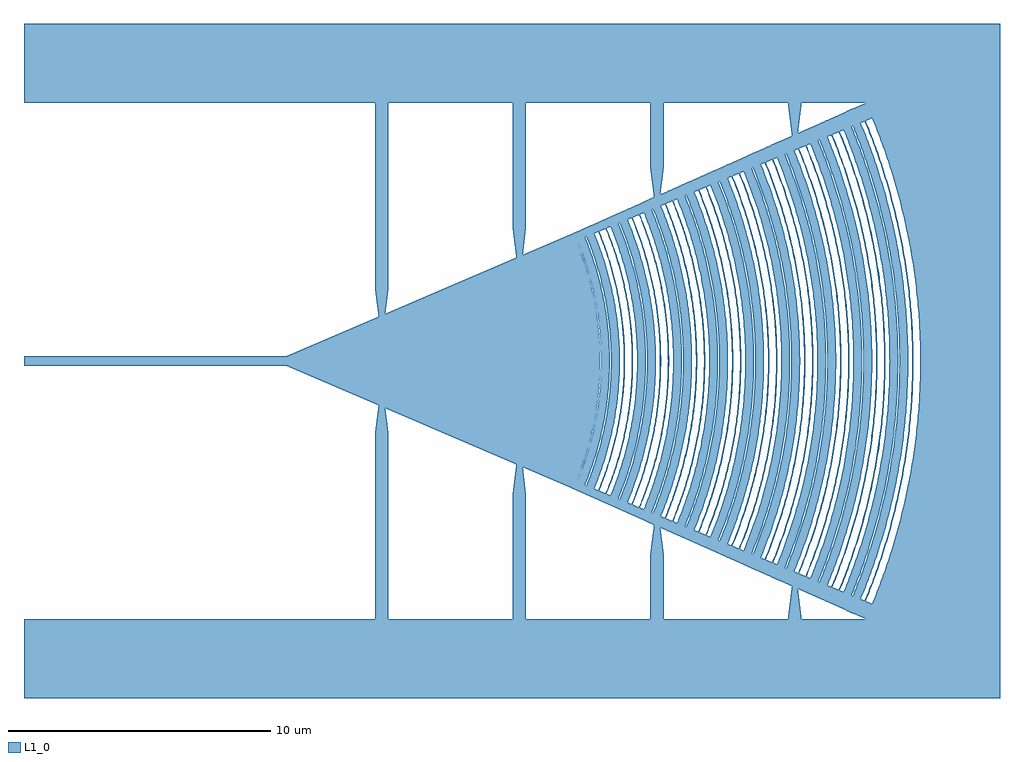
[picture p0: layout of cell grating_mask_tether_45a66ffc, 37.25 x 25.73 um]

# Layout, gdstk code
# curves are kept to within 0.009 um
import gdstk
lib = gdstk.Library(unit=1e-6, precision=1e-09)
def R(c, l, rs):  # rectangles x0, y0, x1, y1
    for r in rs: c.add(gdstk.rectangle(r[:2], r[2:], *l))
def P(c, l, *ps):  # polygons
    for p in ps: c.add(gdstk.Polygon(p, *l))
L1_0 = (1, 0)

boolean_e5ada5bc = lib.new_cell('boolean_e5ada5bc')
P(boolean_e5ada5bc, L1_0, [(22.173,9.718),(22.652,8.544),(23.068,7.347),(23.421,6.13),(23.71,4.896),(23.912,3.787),(24.077,2.531),(24.169,1.408),(24.195,0.845),(24.21,0),(24.195,-0.845),(24.169,-1.408),(24.077,-2.531),(23.912,-3.787),(23.681,-5.033),(23.385,-6.266),(23.025,-7.481),(22.602,-8.676),(22.117,-9.847),(22.153,-9.863),(24.25,-9.863),(24.25,9.863),(22.153,9.863),(22.117,9.847)],
  [(21.93,-9.612),(22.148,-9.099),(22.354,-8.581),(22.594,-7.927),(22.815,-7.267),(22.978,-6.734),(23.164,-6.062),(23.299,-5.522),(23.421,-4.978),(23.556,-4.295),(23.671,-3.608),(23.748,-3.056),(23.813,-2.503),(23.876,-1.809),(23.918,-1.114),(23.94,-0.418),(23.944,0.139),(23.934,0.696),(23.904,1.392),(23.865,1.948),(23.813,2.503),(23.748,3.056),(23.671,3.608),(23.556,4.295),(23.421,4.978),(23.299,5.522),(23.164,6.062),(22.978,6.734),(22.815,7.267),(22.594,7.927),(22.354,8.581),(22.095,9.227),(21.874,9.739),(21.837,9.723),(22.058,9.212),(22.366,8.436),(22.602,7.782),(22.777,7.254),(22.978,6.589),(23.125,6.052),(23.26,5.513),(23.382,4.97),(23.541,4.151),(23.631,3.602),(23.726,2.913),(23.773,2.499),(23.825,1.945),(23.871,1.251),(23.894,0.695),(23.904,0),(23.894,-0.695),(23.871,-1.251),(23.825,-1.945),(23.773,-2.499),(23.726,-2.913),(23.631,-3.602),(23.541,-4.151),(23.41,-4.834),(23.26,-5.513),(23.16,-5.918),(22.978,-6.589),(22.818,-7.122),(22.602,-7.782),(22.366,-8.436),(22.058,-9.212),(21.837,-9.723),(21.874,-9.739)],
  [(21.748,-9.532),(22.168,-8.509),(22.583,-7.338),(22.936,-6.146),(23.105,-5.476),(23.254,-4.802),(23.474,-3.578),(23.629,-2.345),(23.719,-1.105),(23.745,0.138),(23.705,1.381),(23.6,2.619),(23.431,3.851),(23.197,5.072),(22.9,6.279),(22.583,7.338),(22.168,8.509),(21.692,9.658),(21.391,9.524),(21.659,8.898),(21.908,8.264),(22.139,7.623),(22.352,6.976),(22.582,6.192),(22.752,5.532),(22.875,5.001),(23.035,4.2),(23.206,3.124),(23.314,2.176),(23.39,1.089),(23.415,0.136),(23.396,-0.953),(23.326,-2.041),(23.206,-3.124),(23.059,-4.066),(22.931,-4.735),(22.784,-5.4),(22.582,-6.192),(22.392,-6.846),(22.227,-7.365),(21.956,-8.136),(21.659,-8.898),(21.391,-9.524),(21.692,-9.658)],
  [(21.398,-9.378),(21.811,-8.373),(22.045,-7.735),(22.261,-7.09),(22.602,-5.915),(22.88,-4.724),(23.096,-3.52),(23.249,-2.307),(23.338,-1.087),(23.363,0),(23.331,1.223),(23.235,2.442),(23.075,3.655),(22.934,4.458),(22.824,4.99),(22.567,6.047),(22.342,6.831),(22.177,7.349),(21.811,8.373),(21.343,9.503),(21.042,9.368),(21.356,8.628),(21.551,8.129),(21.778,7.499),(21.987,6.862),(22.213,6.091),(22.381,5.442),(22.53,4.789),(22.683,4),(22.827,3.073),(22.957,1.874),(23.014,0.938),(23.033,0),(23.008,-1.072),(22.957,-1.874),(22.907,-2.408),(22.77,-3.471),(22.683,-4),(22.53,-4.789),(22.381,-5.442),(22.213,-6.091),(21.864,-7.245),(21.455,-8.379),(21.042,-9.368),(21.343,-9.503)],
  [(20.95,-9.182),(21.158,-8.692),(21.402,-8.073),(21.628,-7.447),(21.795,-6.942),(21.951,-6.433),(22.129,-5.792),(22.288,-5.146),(22.374,-4.756),(22.503,-4.103),(22.613,-3.447),(22.687,-2.92),(22.749,-2.391),(22.809,-1.728),(22.843,-1.197),(22.868,-0.532),(22.874,0),(22.868,0.532),(22.843,1.197),(22.809,1.728),(22.749,2.391),(22.687,2.92),(22.613,3.447),(22.503,4.103),(22.374,4.756),(22.195,5.534),(22.06,6.049),(21.913,6.56),(21.713,7.195),(21.54,7.698),(21.307,8.321),(21.056,8.937),(20.896,9.304),(20.86,9.287),(21.121,8.677),(21.317,8.183),(21.502,7.685),(21.757,6.93),(21.875,6.549),(22.056,5.91),(22.218,5.266),(22.335,4.747),(22.439,4.226),(22.553,3.572),(22.63,3.046),(22.709,2.387),(22.758,1.858),(22.803,1.195),(22.828,0.531),(22.834,0),(22.828,-0.531),(22.803,-1.195),(22.758,-1.858),(22.709,-2.387),(22.63,-3.046),(22.553,-3.572),(22.487,-3.965),(22.362,-4.617),(22.249,-5.136),(22.09,-5.781),(21.986,-6.166),(21.797,-6.803),(21.59,-7.434),(21.364,-8.059),(21.121,-8.677),(20.86,-9.287),(20.896,-9.304)],
  [(20.67,-9.059),(20.925,-8.454),(21.116,-7.965),(21.339,-7.347),(21.504,-6.849),(21.694,-6.221),(21.833,-5.714),(21.99,-5.077),(22.102,-4.564),(22.202,-4.048),(22.29,-3.53),(22.384,-2.881),(22.445,-2.359),(22.504,-1.705),(22.544,-1.05),(22.565,-0.394),(22.568,0.131),(22.559,0.656),(22.53,1.312),(22.504,1.705),(22.445,2.359),(22.384,2.881),(22.29,3.53),(22.202,4.048),(22.075,4.692),(21.96,5.205),(21.765,5.968),(21.62,6.473),(21.464,6.974),(21.252,7.595),(21.069,8.088),(20.825,8.697),(20.617,9.179),(20.58,9.163),(20.788,8.682),(21.032,8.073),(21.258,7.458),(21.466,6.837),(21.619,6.335),(21.794,5.704),(21.921,5.195),(22.036,4.684),(22.163,4.041),(22.251,3.524),(22.344,2.876),(22.405,2.355),(22.464,1.702),(22.49,1.31),(22.514,0.786),(22.528,0.131),(22.525,-0.393),(22.504,-1.048),(22.464,-1.702),(22.431,-2.094),(22.36,-2.746),(22.271,-3.395),(22.163,-4.041),(22.063,-4.556),(21.951,-5.068),(21.827,-5.577),(21.691,-6.083),(21.544,-6.587),(21.301,-7.334),(21.078,-7.951),(20.838,-8.561),(20.58,-9.163),(20.617,-9.179)],
  [(20.488,-8.979),(20.93,-7.895),(21.314,-6.788),(21.503,-6.166),(21.673,-5.538),(21.907,-4.523),(22.114,-3.371),(22.26,-2.209),(22.345,-1.041),(22.369,0.13),(22.331,1.301),(22.233,2.468),(22.052,3.756),(21.853,4.778),(21.573,5.915),(21.234,7.036),(20.836,8.138),(20.435,9.098),(20.134,8.964),(20.386,8.375),(20.666,7.658),(20.88,7.054),(21.076,6.444),(21.255,5.828),(21.415,5.207),(21.558,4.582),(21.682,3.953),(21.825,3.067),(21.944,2.049),(22.009,1.153),(22.039,0.128),(22.036,-0.385),(22.009,-1.153),(21.918,-2.304),(21.768,-3.448),(21.558,-4.582),(21.321,-5.58),(21,-6.688),(20.621,-7.778),(20.386,-8.375),(20.134,-8.964),(20.435,-9.098)],
  [(20.138,-8.826),(20.386,-8.237),(20.617,-7.64),(20.989,-6.551),(21.271,-5.567),(21.533,-4.446),(21.736,-3.313),(21.867,-2.298),(21.957,-1.151),(21.978,-0.64),(21.987,0.128),(21.95,1.278),(21.867,2.298),(21.716,3.44),(21.507,4.571),(21.238,5.691),(20.911,6.794),(20.527,7.879),(20.086,8.943),(19.785,8.809),(20.219,7.761),(20.436,7.17),(20.636,6.572),(20.919,5.605),(21.184,4.503),(21.35,3.637),(21.525,2.389),(21.613,1.385),(21.644,0.756),(21.657,0.126),(21.634,-1.008),(21.551,-2.138),(21.41,-3.263),(21.21,-4.379),(20.983,-5.362),(20.636,-6.572),(20.436,-7.17),(20.219,-7.761),(19.785,-8.809),(20.086,-8.943)],
  [(19.69,-8.63),(19.933,-8.053),(20.115,-7.587),(20.327,-6.999),(20.522,-6.405),(20.665,-5.926),(20.798,-5.443),(20.919,-4.958),(21.054,-4.347),(21.172,-3.733),(21.253,-3.239),(21.338,-2.62),(21.393,-2.123),(21.437,-1.624),(21.475,-1),(21.495,-0.375),(21.498,0.125),(21.489,0.625),(21.462,1.25),(21.427,1.749),(21.367,2.372),(21.289,2.992),(21.193,3.61),(21.127,3.979),(21.002,4.592),(20.86,5.201),(20.733,5.685),(20.559,6.285),(20.407,6.762),(20.202,7.353),(20.025,7.821),(19.838,8.285),(19.64,8.744),(19.603,8.728),(19.801,8.269),(20.033,7.69),(20.248,7.104),(20.446,6.512),(20.627,5.915),(20.759,5.433),(20.908,4.827),(21.015,4.339),(21.11,3.849),(21.194,3.357),(21.266,2.863),(21.327,2.367),(21.387,1.746),(21.422,1.248),(21.445,0.749),(21.458,0.125),(21.455,-0.374),(21.435,-0.998),(21.397,-1.621),(21.353,-2.119),(21.298,-2.615),(21.213,-3.233),(21.11,-3.849),(21.015,-4.339),(20.936,-4.705),(20.821,-5.191),(20.661,-5.795),(20.52,-6.274),(20.329,-6.868),(20.121,-7.456),(19.896,-8.038),(19.603,-8.728),(19.64,-8.744)],
  [(19.41,-8.507),(19.603,-8.053),(19.829,-7.479),(20.038,-6.9),(20.23,-6.314),(20.405,-5.723),(20.533,-5.246),(20.677,-4.647),(20.779,-4.165),(20.849,-3.801),(20.969,-3.071),(21.034,-2.583),(21.089,-2.093),(21.141,-1.478),(21.175,-0.863),(21.187,-0.493),(21.192,0.123),(21.175,0.863),(21.149,1.355),(21.112,1.847),(21.063,2.338),(21.003,2.827),(20.912,3.437),(20.803,4.044),(20.703,4.527),(20.563,5.127),(20.438,5.604),(20.302,6.078),(20.117,6.666),(19.956,7.132),(19.785,7.595),(19.603,8.053),(19.36,8.62),(19.323,8.603),(19.612,7.924),(19.791,7.465),(20,6.887),(20.192,6.302),(20.333,5.83),(20.463,5.356),(20.582,4.878),(20.69,4.398),(20.787,3.915),(20.892,3.309),(20.963,2.822),(21.023,2.333),(21.072,1.844),(21.109,1.353),(21.135,0.861),(21.152,0.123),(21.149,-0.369),(21.135,-0.861),(21.101,-1.475),(21.061,-1.966),(20.995,-2.578),(20.929,-3.066),(20.852,-3.552),(20.74,-4.157),(20.664,-4.518),(20.524,-5.117),(20.399,-5.593),(20.264,-6.067),(20.079,-6.653),(19.834,-7.35),(19.612,-7.924),(19.323,-8.603),(19.36,-8.62)],
  [(19.228,-8.427),(19.599,-7.523),(19.966,-6.487),(20.278,-5.434),(20.535,-4.365),(20.754,-3.163),(20.891,-2.073),(20.971,-0.977),(20.993,0.122),(20.958,1.221),(20.865,2.316),(20.735,3.284),(20.535,4.365),(20.278,5.434),(19.966,6.487),(19.599,7.523),(19.178,8.539),(18.877,8.405),(19.334,7.293),(19.652,6.385),(19.928,5.464),(20.212,4.296),(20.409,3.232),(20.55,2.16),(20.635,1.081),(20.663,0.12),(20.641,-0.961),(20.55,-2.16),(20.409,-3.232),(20.212,-4.296),(19.928,-5.464),(19.652,-6.385),(19.334,-7.293),(18.877,-8.405),(19.178,-8.539)],
  [(18.878,-8.274),(19.285,-7.274),(19.639,-6.255),(19.94,-5.219),(20.161,-4.285),(20.376,-3.106),(20.498,-2.154),(20.589,-0.959),(20.611,0.12),(20.583,1.079),(20.498,2.154),(20.376,3.106),(20.161,4.285),(19.909,5.335),(19.565,6.483),(19.199,7.498),(18.829,8.383),(18.528,8.249),(18.892,7.378),(19.289,6.267),(19.59,5.249),(19.838,4.217),(20.05,3.056),(20.17,2.12),(20.247,1.179),(20.281,0.118),(20.259,-0.944),(20.182,-2.003),(20.05,-3.056),(19.838,-4.217),(19.59,-5.249),(19.289,-6.267),(18.892,-7.378),(18.528,-8.249),(18.829,-8.383)],
  [(18.43,-8.077),(18.613,-7.646),(18.786,-7.211),(18.988,-6.662),(19.173,-6.107),(19.31,-5.659),(19.437,-5.208),(19.58,-4.641),(19.707,-4.069),(19.817,-3.494),(19.893,-3.032),(19.958,-2.568),(20.024,-1.987),(20.065,-1.52),(20.095,-1.053),(20.117,-0.468),(20.122,0.117),(20.114,0.585),(20.095,1.053),(20.056,1.637),(20.012,2.103),(19.958,2.568),(19.875,3.148),(19.796,3.609),(19.683,4.184),(19.553,4.754),(19.437,5.208),(19.277,5.771),(19.101,6.329),(18.988,6.662),(18.786,7.211),(18.613,7.646),(18.383,8.184),(18.346,8.168),(18.576,7.631),(18.79,7.088),(18.95,6.648),(19.135,6.094),(19.272,5.648),(19.398,5.198),(19.514,4.745),(19.619,4.29),(19.735,3.717),(19.835,3.142),(19.903,2.679),(19.96,2.215),(20.006,1.75),(20.055,1.051),(20.074,0.584),(20.082,0.117),(20.077,-0.467),(20.055,-1.051),(20.025,-1.517),(19.984,-1.983),(19.918,-2.563),(19.853,-3.026),(19.777,-3.487),(19.69,-3.947),(19.619,-4.29),(19.486,-4.858),(19.336,-5.423),(19.205,-5.871),(19.026,-6.427),(18.79,-7.088),(18.576,-7.631),(18.346,-8.168),(18.383,-8.184)],
  [(18.15,-7.955),(18.33,-7.53),(18.5,-7.102),(18.661,-6.669),(18.847,-6.124),(19.017,-5.573),(19.171,-5.017),(19.309,-4.458),(19.407,-4.007),(19.495,-3.555),(19.573,-3.1),(19.669,-2.415),(19.72,-1.957),(19.76,-1.497),(19.795,-0.922),(19.811,-0.461),(19.816,0.115),(19.808,0.576),(19.783,1.152),(19.751,1.612),(19.696,2.186),(19.624,2.758),(19.573,3.1),(19.474,3.668),(19.359,4.233),(19.228,4.794),(19.111,5.24),(19.017,5.573),(18.847,6.124),(18.661,6.669),(18.459,7.209),(18.286,7.637),(18.103,8.06),(18.067,8.044),(18.293,7.515),(18.504,6.98),(18.699,6.439),(18.844,6.002),(18.978,5.562),(19.132,5.007),(19.27,4.449),(19.368,3.999),(19.456,3.547),(19.533,3.094),(19.6,2.638),(19.656,2.182),(19.711,1.609),(19.743,1.15),(19.768,0.575),(19.776,0.115),(19.771,-0.46),(19.755,-0.92),(19.72,-1.494),(19.68,-1.953),(19.643,-2.296),(19.568,-2.866),(19.476,-3.434),(19.391,-3.886),(19.27,-4.449),(19.189,-4.784),(19.042,-5.34),(18.946,-5.672),(18.773,-6.221),(18.504,-6.98),(18.293,-7.515),(18.067,-8.044),(18.103,-8.06)],
  [(17.968,-7.875),(18.355,-6.924),(18.727,-5.845),(19.007,-4.857),(19.189,-4.079),(19.376,-3.069),(19.51,-2.051),(19.591,-1.027),(19.617,0.114),(19.591,1.027),(19.498,2.164),(19.358,3.182),(19.189,4.079),(18.949,5.077),(18.622,6.171),(18.273,7.137),(17.921,7.979),(17.62,7.845),(17.841,7.329),(18.086,6.702),(18.378,5.853),(18.659,4.884),(18.866,4.01),(19.05,3.017),(19.17,2.128),(19.255,1.122),(19.287,0.112),(19.267,-0.897),(19.182,-2.016),(19.05,-3.017),(18.866,-4.01),(18.659,-4.884),(18.378,-5.853),(18.086,-6.702),(17.841,-7.329),(17.62,-7.845),(17.921,-7.979)],
  [(17.617,-7.721),(17.998,-6.789),(18.328,-5.838),(18.637,-4.762),(18.838,-3.89),(19.016,-2.899),(19.13,-2.011),(19.209,-1.007),(19.235,0.112),(19.203,1.118),(19.13,2.011),(19.016,2.899),(18.815,3.999),(18.58,4.979),(18.294,5.944),(17.998,6.789),(17.572,7.824),(17.271,7.69),(17.65,6.775),(17.946,5.947),(18.203,5.105),(18.469,4.038),(18.655,3.066),(18.79,2.086),(18.867,1.209),(18.905,0.11),(18.885,-0.88),(18.813,-1.867),(18.706,-2.74),(18.515,-3.823),(18.289,-4.787),(18.014,-5.737),(17.65,-6.775),(17.271,-7.69),(17.572,-7.824)],
  [(17.17,-7.525),(17.299,-7.224),(17.54,-6.616),(17.653,-6.309),(17.829,-5.793),(17.99,-5.272),(18.108,-4.852),(18.216,-4.429),(18.337,-3.898),(18.442,-3.363),(18.516,-2.933),(18.579,-2.501),(18.644,-1.959),(18.693,-1.417),(18.721,-0.981),(18.744,-0.327),(18.746,0.109),(18.735,0.654),(18.715,1.09),(18.693,1.417),(18.644,1.959),(18.579,2.501),(18.516,2.933),(18.442,3.363),(18.337,3.898),(18.216,4.429),(18.108,4.852),(17.99,5.272),(17.829,5.793),(17.653,6.309),(17.462,6.82),(17.299,7.224),(17.126,7.625),(17.089,7.608),(17.303,7.108),(17.503,6.602),(17.687,6.09),(17.857,5.573),(17.982,5.156),(18.097,4.736),(18.227,4.208),(18.32,3.783),(18.403,3.355),(18.493,2.819),(18.567,2.28),(18.604,1.955),(18.653,1.413),(18.675,1.088),(18.695,0.653),(18.706,0.109),(18.701,-0.435),(18.681,-0.979),(18.653,-1.413),(18.615,-1.847),(18.567,-2.28),(18.493,-2.819),(18.403,-3.355),(18.32,-3.783),(18.151,-4.526),(17.982,-5.156),(17.889,-5.469),(17.687,-6.09),(17.503,-6.602),(17.303,-7.108),(17.089,-7.608),(17.126,-7.625)],
  [(16.89,-7.402),(17.098,-6.908),(17.254,-6.508),(17.401,-6.105),(17.571,-5.596),(17.756,-4.98),(17.84,-4.669),(17.944,-4.253),(18.038,-3.834),(18.142,-3.308),(18.214,-2.885),(18.29,-2.354),(18.34,-1.928),(18.388,-1.393),(18.421,-0.858),(18.436,-0.429),(18.441,0),(18.436,0.429),(18.421,0.858),(18.388,1.393),(18.34,1.928),(18.29,2.354),(18.214,2.885),(18.142,3.308),(18.038,3.834),(17.919,4.357),(17.756,4.98),(17.635,5.392),(17.505,5.8),(17.329,6.307),(17.177,6.709),(16.975,7.205),(16.846,7.501),(16.81,7.484),(17.061,6.893),(17.254,6.394),(17.433,5.889),(17.597,5.38),(17.717,4.969),(17.854,4.452),(17.953,4.035),(18.042,3.616),(18.121,3.195),(18.206,2.667),(18.25,2.349),(18.311,1.817),(18.356,1.284),(18.381,0.856),(18.396,0.428),(18.401,0),(18.396,-0.428),(18.381,-0.856),(18.356,-1.284),(18.311,-1.817),(18.25,-2.349),(18.206,-2.667),(18.121,-3.195),(18.042,-3.616),(17.953,-4.035),(17.854,-4.452),(17.717,-4.969),(17.597,-5.38),(17.433,-5.889),(17.254,-6.394),(17.061,-6.893),(16.81,-7.484),(16.846,-7.501)],
  [(16.707,-7.322),(17.068,-6.438),(17.349,-5.637),(17.62,-4.721),(17.865,-3.689),(18.017,-2.854),(18.142,-1.907),(18.217,-0.955),(18.242,0),(18.217,0.955),(18.142,1.907),(18.017,2.854),(17.843,3.793),(17.62,4.721),(17.349,5.637),(17.068,6.438),(16.665,7.419),(16.363,7.285),(16.722,6.419),(17.035,5.535),(17.301,4.636),(17.52,3.724),(17.675,2.905),(17.814,1.872),(17.887,0.937),(17.912,0),(17.887,-0.937),(17.814,-1.872),(17.675,-2.905),(17.52,-3.724),(17.301,-4.636),(17.035,-5.535),(16.722,-6.419),(16.363,-7.285),(16.665,-7.419)],
  [(16.357,-7.169),(16.747,-6.206),(17.017,-5.42),(17.251,-4.622),(17.491,-3.612),(17.64,-2.794),(17.762,-1.867),(17.835,-0.935),(17.859,0.104),(17.835,0.935),(17.762,1.867),(17.64,2.794),(17.491,3.612),(17.251,4.622),(17.017,5.42),(16.747,6.206),(16.52,6.786),(16.315,7.264),(16.014,7.13),(16.365,6.282),(16.672,5.417),(16.932,4.537),(17.125,3.744),(17.314,2.742),(17.411,2.035),(17.494,1.121),(17.529,0.102),(17.511,-0.816),(17.454,-1.629),(17.359,-2.44),(17.188,-3.445),(16.984,-4.34),(16.703,-5.32),(16.365,-6.282),(16.014,-7.13),(16.315,-7.264)],
  [(15.91,-6.973),(16.068,-6.601),(16.253,-6.131),(16.457,-5.56),(16.582,-5.175),(16.698,-4.788),(16.805,-4.398),(16.902,-4.006),(17.012,-3.513),(17.089,-3.116),(17.157,-2.717),(17.229,-2.217),(17.286,-1.715),(17.321,-1.312),(17.352,-0.808),(17.366,-0.404),(17.37,0.101),(17.366,0.404),(17.347,0.909),(17.313,1.413),(17.265,1.916),(17.229,2.217),(17.141,2.817),(17.051,3.315),(16.97,3.71),(16.879,4.104),(16.779,4.496),(16.641,4.982),(16.489,5.464),(16.391,5.751),(16.217,6.225),(16.068,6.601),(15.869,7.065),(15.832,7.049),(16.03,6.586),(16.251,6.022),(16.419,5.547),(16.513,5.259),(16.631,4.874),(16.766,4.388),(16.84,4.095),(16.952,3.603),(17.031,3.208),(17.133,2.611),(17.189,2.212),(17.236,1.812),(17.281,1.31),(17.307,0.907),(17.326,0.403),(17.33,0.101),(17.326,-0.403),(17.312,-0.806),(17.265,-1.51),(17.225,-1.912),(17.162,-2.412),(17.101,-2.811),(17.012,-3.307),(16.931,-3.702),(16.816,-4.193),(16.687,-4.68),(16.573,-5.067),(16.419,-5.547),(16.251,-6.022),(16.03,-6.586),(15.832,-7.049),(15.869,-7.065)],
  [(15.629,-6.85),(15.785,-6.485),(15.967,-6.023),(16.23,-5.273),(16.404,-4.704),(16.509,-4.321),(16.605,-3.935),(16.692,-3.548),(16.77,-3.159),(16.855,-2.67),(16.899,-2.375),(16.961,-1.882),(17,-1.487),(17.036,-0.992),(17.058,-0.496),(17.065,0.099),(17.058,0.496),(17.036,0.992),(17,1.487),(16.961,1.882),(16.899,2.375),(16.855,2.67),(16.77,3.159),(16.692,3.548),(16.605,3.935),(16.509,4.321),(16.404,4.704),(16.23,5.273),(15.967,6.023),(15.785,6.485),(15.589,6.941),(15.553,6.924),(15.71,6.561),(15.894,6.101),(16.032,5.73),(16.222,5.167),(16.338,4.788),(16.445,4.406),(16.543,4.022),(16.653,3.54),(16.748,3.054),(16.815,2.663),(16.859,2.369),(16.921,1.878),(16.96,1.484),(16.996,0.99),(17.02,0.396),(17.025,0),(17.011,-0.693),(16.99,-1.089),(16.951,-1.582),(16.91,-1.976),(16.845,-2.467),(16.783,-2.859),(16.693,-3.346),(16.588,-3.83),(16.495,-4.215),(16.419,-4.502),(16.281,-4.977),(16.161,-5.355),(15.964,-5.916),(15.748,-6.469),(15.553,-6.924),(15.589,-6.941)],
  [(15.447,-6.77),(15.746,-6.044),(16.04,-5.212),(16.291,-4.365),(16.497,-3.507),(16.658,-2.638),(16.763,-1.86),(16.843,-0.883),(16.866,0),(16.843,0.883),(16.763,1.86),(16.658,2.638),(16.477,3.602),(16.265,4.46),(16.01,5.305),(15.746,6.044),(15.408,6.86),(15.106,6.726),(15.403,6.016),(15.666,5.293),(15.947,4.373),(16.154,3.532),(16.317,2.682),(16.435,1.824),(16.508,0.961),(16.536,0.096),(16.518,-0.769),(16.455,-1.633),(16.347,-2.492),(16.194,-3.344),(15.997,-4.187),(15.756,-5.018),(15.472,-5.836),(15.106,-6.726),(15.408,-6.86)],
  [(15.097,-6.617),(15.423,-5.818),(15.677,-5.094),(15.971,-4.081),(16.143,-3.333),(16.31,-2.389),(16.403,-1.628),(16.466,-0.767),(16.484,0),(16.466,0.767),(16.403,1.628),(16.31,2.389),(16.143,3.333),(15.971,4.081),(15.677,5.094),(15.389,5.907),(15.058,6.705),(14.757,6.57),(15.081,5.789),(15.363,4.992),(15.579,4.272),(15.801,3.359),(15.955,2.527),(16.075,1.595),(16.136,0.752),(16.154,0),(16.136,-0.752),(16.075,-1.595),(15.955,-2.527),(15.801,-3.359),(15.579,-4.272),(15.363,-4.992),(15.081,-5.789),(14.757,-6.57),(15.058,-6.705)],
  [(14.65,-6.421),(14.899,-5.819),(15.062,-5.383),(15.212,-4.943),(15.323,-4.587),(15.45,-4.14),(15.564,-3.689),(15.645,-3.326),(15.718,-2.961),(15.798,-2.502),(15.864,-2.042),(15.917,-1.579),(15.949,-1.209),(15.973,-0.837),(15.988,-0.465),(15.995,0),(15.988,0.465),(15.973,0.837),(15.942,1.301),(15.907,1.672),(15.852,2.134),(15.798,2.502),(15.701,3.052),(15.626,3.416),(15.564,3.689),(15.45,4.14),(15.323,4.587),(15.212,4.943),(15.062,5.383),(14.899,5.819),(14.612,6.506),(14.575,6.489),(14.758,6.063),(14.928,5.631),(15.115,5.107),(15.257,4.665),(15.387,4.219),(15.481,3.86),(15.644,3.135),(15.728,2.679),(15.786,2.312),(15.836,1.944),(15.877,1.575),(15.902,1.298),(15.933,0.835),(15.948,0.464),(15.955,0),(15.948,-0.464),(15.933,-0.835),(15.916,-1.113),(15.877,-1.575),(15.836,-1.944),(15.786,-2.312),(15.728,-2.679),(15.644,-3.135),(15.481,-3.86),(15.311,-4.487),(15.174,-4.93),(15.024,-5.37),(14.793,-5.977),(14.575,-6.489),(14.612,-6.506)],
  [(14.369,-6.298),(14.512,-5.962),(14.647,-5.622),(14.774,-5.28),(14.949,-4.761),(15.056,-4.412),(15.178,-3.972),(15.287,-3.529),(15.365,-3.173),(15.451,-2.724),(15.51,-2.364),(15.561,-2.003),(15.603,-1.64),(15.651,-1.094),(15.672,-0.73),(15.685,-0.365),(15.689,0.091),(15.676,0.639),(15.657,1.003),(15.593,1.731),(15.549,2.093),(15.496,2.454),(15.418,2.904),(15.327,3.351),(15.245,3.707),(15.106,4.237),(15.03,4.5),(14.893,4.935),(14.743,5.366),(14.614,5.708),(14.333,6.381),(14.296,6.365),(14.475,5.947),(14.674,5.438),(14.826,5.009),(14.965,4.575),(15.043,4.313),(15.162,3.874),(15.248,3.52),(15.344,3.075),(15.427,2.628),(15.484,2.268),(15.543,1.817),(15.581,1.455),(15.611,1.092),(15.632,0.728),(15.645,0.364),(15.649,0),(15.645,-0.364),(15.632,-0.728),(15.611,-1.092),(15.581,-1.455),(15.543,-1.817),(15.484,-2.268),(15.427,-2.628),(15.344,-3.075),(15.248,-3.52),(15.162,-3.874),(15.043,-4.313),(14.965,-4.575),(14.826,-5.009),(14.674,-5.438),(14.475,-5.947),(14.296,-6.365),(14.333,-6.381)],
  [(14.187,-6.218),(14.493,-5.467),(14.732,-4.787),(14.939,-4.096),(15.17,-3.132),(15.313,-2.334),(15.423,-1.44),(15.477,-0.631),(15.49,0.09),(15.464,0.901),(15.405,1.619),(15.285,2.512),(15.151,3.221),(14.939,4.096),(14.732,4.787),(14.429,5.635),(14.151,6.3),(13.849,6.166),(14.153,5.433),(14.418,4.685),(14.643,3.924),(14.829,3.152),(14.987,2.284),(15.077,1.585),(15.144,0.705),(15.16,0.088),(15.144,-0.705),(15.086,-1.497),(14.987,-2.284),(14.829,-3.152),(14.643,-3.924),(14.418,-4.685),(14.153,-5.433),(13.849,-6.166),(14.151,-6.3)],
  [(13.837,-6.065),(14.136,-5.332),(14.368,-4.669),(14.616,-3.825),(14.778,-3.141),(14.908,-2.45),(15.016,-1.667),(15.087,-0.791),(15.108,0),(15.087,0.791),(15.016,1.667),(14.908,2.45),(14.778,3.141),(14.616,3.825),(14.368,4.669),(14.136,5.332),(13.802,6.145),(13.5,6.011),(13.827,5.216),(14.055,4.567),(14.252,3.908),(14.455,3.073),(14.596,2.312),(14.697,1.545),(14.753,0.859),(14.778,0),(14.753,-0.859),(14.697,-1.545),(14.596,-2.312),(14.455,-3.073),(14.252,-3.908),(14.055,-4.567),(13.827,-5.216),(13.5,-6.011),(13.802,-6.145)],
  [(13.389,-5.868),(13.49,-5.634),(13.648,-5.239),(13.795,-4.84),(13.929,-4.437),(14.005,-4.193),(14.121,-3.784),(14.225,-3.371),(14.317,-2.956),(14.397,-2.538),(14.465,-2.119),(14.51,-1.782),(14.556,-1.359),(14.589,-0.935),(14.607,-0.595),(14.619,0.085),(14.599,0.765),(14.577,1.105),(14.53,1.613),(14.439,2.287),(14.382,2.622),(14.282,3.123),(14.185,3.537),(14.099,3.866),(14.005,4.193),(13.877,4.598),(13.795,4.84),(13.648,5.239),(13.49,5.634),(13.355,5.946),(13.318,5.93),(13.453,5.618),(13.641,5.145),(13.785,4.746),(13.942,4.262),(14.06,3.855),(14.146,3.527),(14.295,2.865),(14.372,2.448),(14.425,2.113),(14.47,1.777),(14.516,1.355),(14.549,0.932),(14.567,0.594),(14.579,0),(14.567,-0.594),(14.549,-0.932),(14.516,-1.355),(14.47,-1.777),(14.425,-2.113),(14.372,-2.448),(14.295,-2.865),(14.146,-3.527),(14.06,-3.855),(13.942,-4.262),(13.785,-4.746),(13.641,-5.145),(13.453,-5.618),(13.318,-5.93),(13.355,-5.946)],
  [(13.109,-5.746),(13.271,-5.362),(13.392,-5.051),(13.506,-4.739),(13.638,-4.344),(13.759,-3.945),(13.868,-3.543),(13.965,-3.138),(14.034,-2.813),(14.124,-2.321),(14.174,-1.992),(14.226,-1.579),(14.259,-1.248),(14.298,-0.666),(14.311,-0.25),(14.313,0.083),(14.307,0.416),(14.289,0.832),(14.266,1.165),(14.226,1.579),(14.174,1.992),(14.124,2.321),(14.066,2.649),(13.983,3.057),(13.908,3.382),(13.804,3.785),(13.613,4.423),(13.392,5.051),(13.208,5.516),(13.076,5.822),(13.039,5.805),(13.234,5.347),(13.384,4.96),(13.549,4.49),(13.625,4.252),(13.743,3.854),(13.829,3.533),(13.926,3.13),(13.995,2.805),(14.11,2.151),(14.195,1.492),(14.249,0.83),(14.267,0.415),(14.273,0.083),(14.261,-0.581),(14.244,-0.913),(14.219,-1.244),(14.186,-1.574),(14.134,-1.986),(14.084,-2.315),(13.995,-2.805),(13.926,-3.13),(13.849,-3.453),(13.787,-3.694),(13.673,-4.094),(13.549,-4.49),(13.384,-4.96),(13.234,-5.347),(13.039,-5.805),(13.076,-5.822)],
  [(12.927,-5.666),(13.177,-5.058),(13.423,-4.362),(13.612,-3.732),(13.806,-2.935),(13.953,-2.127),(14.037,-1.475),(14.095,-0.739),(14.114,0.082),(14.095,0.739),(14.037,1.475),(13.953,2.127),(13.806,2.935),(13.612,3.732),(13.398,4.439),(13.177,5.058),(12.894,5.741),(12.592,5.607),(12.869,4.94),(13.109,4.26),(13.335,3.49),(13.483,2.866),(13.602,2.236),(13.709,1.441),(13.761,0.801),(13.784,0.08),(13.773,-0.561),(13.709,-1.441),(13.602,-2.236),(13.483,-2.866),(13.335,-3.49),(13.109,-4.26),(12.869,-4.94),(12.592,-5.607),(12.894,-5.741)],
  [(12.577,-5.512),(12.82,-4.921),(13.06,-4.243),(13.285,-3.477),(13.432,-2.855),(13.563,-2.148),(13.657,-1.435),(13.721,-0.559),(13.732,0.08),(13.709,0.798),(13.657,1.435),(13.563,2.148),(13.432,2.855),(13.285,3.477),(13.06,4.243),(12.82,4.921),(12.545,5.585),(12.243,5.451),(12.484,4.876),(12.722,4.216),(12.925,3.544),(13.093,2.863),(13.225,2.174),(13.32,1.478),(13.375,0.857),(13.402,0.078),(13.384,-0.701),(13.32,-1.478),(13.225,-2.174),(13.093,-2.863),(12.925,-3.544),(12.722,-4.216),(12.484,-4.876),(12.243,-5.451),(12.545,-5.585)],
  [(12.129,-5.316),(12.279,-4.961),(12.391,-4.674),(12.595,-4.092),(12.709,-3.724),(12.792,-3.428),(12.85,-3.204),(12.954,-2.753),(13.042,-2.3),(13.092,-1.995),(13.154,-1.537),(13.186,-1.231),(13.229,-0.616),(13.241,-0.231),(13.243,0.077),(13.235,0.462),(13.221,0.77),(13.193,1.154),(13.154,1.537),(13.068,2.148),(12.954,2.753),(12.904,2.979),(12.792,3.428),(12.709,3.724),(12.595,4.092),(12.471,4.457),(12.336,4.818),(12.098,5.386),(12.061,5.37),(12.27,4.875),(12.407,4.516),(12.533,4.153),(12.626,3.86),(12.773,3.343),(12.865,2.97),(12.93,2.67),(12.989,2.368),(13.064,1.914),(13.131,1.38),(13.181,0.768),(13.195,0.461),(13.203,0.077),(13.201,-0.23),(13.189,-0.614),(13.146,-1.227),(13.114,-1.533),(13.064,-1.914),(12.989,-2.368),(12.945,-2.595),(12.882,-2.895),(12.811,-3.194),(12.648,-3.787),(12.533,-4.153),(12.407,-4.516),(12.27,-4.875),(12.061,-5.37),(12.098,-5.386)],
  [(11.849,-5.193),(11.967,-4.916),(12.105,-4.566),(12.257,-4.141),(12.35,-3.854),(12.457,-3.494),(12.535,-3.203),(12.67,-2.616),(12.741,-2.247),(12.801,-1.875),(12.874,-1.277),(12.906,-0.903),(12.927,-0.527),(12.937,0.075),(12.927,0.527),(12.911,0.827),(12.888,1.128),(12.85,1.502),(12.801,1.875),(12.754,2.172),(12.639,2.763),(12.535,3.203),(12.457,3.494),(12.281,4.069),(12.183,4.354),(12.051,4.707),(11.819,5.262),(11.782,5.246),(11.93,4.901),(12.067,4.552),(12.195,4.199),(12.334,3.771),(12.496,3.193),(12.631,2.608),(12.688,2.313),(12.75,1.943),(12.827,1.348),(12.871,0.825),(12.892,0.375),(12.897,0.075),(12.894,-0.3),(12.883,-0.6),(12.866,-0.9),(12.827,-1.348),(12.75,-1.943),(12.646,-2.534),(12.567,-2.901),(12.496,-3.193),(12.334,-3.771),(12.195,-4.199),(12.067,-4.552),(11.93,-4.901),(11.782,-5.246),(11.819,-5.262)],
  [(11.667,-5.113),(11.97,-4.357),(12.16,-3.795),(12.342,-3.154),(12.475,-2.576),(12.593,-1.919),(12.676,-1.258),(12.728,-0.519),(12.738,0.074),(12.717,0.741),(12.661,1.405),(12.57,2.066),(12.46,2.648),(12.285,3.368),(12.092,4.007),(11.892,4.565),(11.637,5.181),(11.335,5.047),(11.584,4.447),(11.801,3.834),(12.004,3.142),(12.122,2.65),(12.244,2.012),(12.333,1.369),(12.383,0.793),(12.408,0.072),(12.395,-0.577),(12.348,-1.225),(12.267,-1.87),(12.152,-2.509),(12.004,-3.142),(11.823,-3.766),(11.61,-4.379),(11.335,-5.047),(11.637,-5.181)],
  [(11.317,-4.96),(11.561,-4.361),(11.795,-3.681),(11.953,-3.129),(12.101,-2.499),(12.226,-1.791),(12.296,-1.22),(12.343,-0.575),(12.356,0.072),(12.331,0.79),(12.281,1.363),(12.193,2.004),(12.071,2.639),(11.897,3.337),(11.729,3.887),(11.561,4.361),(11.288,5.026),(10.986,4.891),(11.277,4.179),(11.459,3.65),(11.652,2.977),(11.778,2.432),(11.889,1.812),(11.953,1.327),(12.006,0.699),(12.026,0.07),(12.01,-0.629),(11.974,-1.118),(11.889,-1.812),(11.778,-2.432),(11.652,-2.977),(11.459,-3.65),(11.277,-4.179),(10.986,-4.891),(11.288,-5.026)],
  [(-10,-0.175),(0,-0.175),(10.963,-4.881),(11.203,-4.3),(11.413,-3.708),(11.564,-3.207),(11.738,-2.495),(11.868,-1.774),(11.945,-1.15),(11.989,-0.523),(12,0.105),(11.978,0.733),(11.923,1.358),(11.818,2.084),(11.716,2.597),(11.564,3.207),(11.413,3.708),(11.203,4.3),(10.963,4.881),(0,0.175),(-10,0.175)])

ring_d1d62f96_transform_ = lib.new_cell('ring_d1d62f96_transform_d87d82d5')
P(ring_d1d62f96_transform_, L1_0, [(22.153,-9.176),(0,0),(22.153,-9.863)],
  [(22.153,-9.863),(22.404,-9.281),(22.153,-9.176)])

c_ring_d1d62f96_transform_ = lib.new_cell('ring_d1d62f96_transform_3501d09c')
P(c_ring_d1d62f96_transform_, L1_0, [(22.153,9.176),(22.153,9.863),(0,0)],
  [(22.404,9.28),(22.153,9.863),(22.153,9.176)])

skeleton_568c8b68 = lib.new_cell('skeleton_568c8b68')
skeleton_568c8b68.add(gdstk.Reference(ring_d1d62f96_transform_, (0,0)))
skeleton_568c8b68.add(gdstk.Reference(c_ring_d1d62f96_transform_, (0,0)))

c__tether_straight_length_ = lib.new_cell('_tether_straight_length_c80d8dd2')
R(c__tether_straight_length_, L1_0, [(3.404,2.727,3.904,9.863)])
P(c__tether_straight_length_, L1_0, [(3.754,1.527),(3.904,2.727),(3.404,2.727),(3.554,1.527)])

c__tether_straight_length__ = lib.new_cell('_tether_straight_length_eaa7affb')
R(c__tether_straight_length__, L1_0, [(3.404,-9.863,3.904,-2.727)])
P(c__tether_straight_length__, L1_0, [(3.554,-1.527),(3.404,-2.727),(3.904,-2.727),(3.754,-1.527)])

c__tether_straight_length___ = lib.new_cell('_tether_straight_length_e41c8975')
R(c__tether_straight_length___, L1_0, [(8.657,5.066,9.157,9.863)])
P(c__tether_straight_length___, L1_0, [(9.007,3.866),(9.157,5.066),(8.657,5.066),(8.807,3.866)])

c__tether_straight_length____ = lib.new_cell('_tether_straight_length_1925eca2')
R(c__tether_straight_length____, L1_0, [(8.657,-9.863,9.157,-5.066)])
P(c__tether_straight_length____, L1_0, [(8.807,-3.866),(8.657,-5.066),(9.157,-5.066),(9.007,-3.866)])

c__tether_straight_length_____ = lib.new_cell('_tether_straight_length_7c991010')
R(c__tether_straight_length_____, L1_0, [(13.91,7.404,14.41,9.863)])
P(c__tether_straight_length_____, L1_0, [(14.26,6.204),(14.41,7.404),(13.91,7.404),(14.06,6.204)])

c__tether_straight_length______ = lib.new_cell('_tether_straight_length_7a26db62')
R(c__tether_straight_length______, L1_0, [(13.91,-9.863,14.41,-7.404)])
P(c__tether_straight_length______, L1_0, [(14.06,-6.204),(13.91,-7.404),(14.41,-7.404),(14.26,-6.204)])

c__tether_straight_length_______ = lib.new_cell('_tether_straight_length_0b3331d4')
R(c__tether_straight_length_______, L1_0, [(19.163,9.743,19.663,9.863)])
P(c__tether_straight_length_______, L1_0, [(19.513,8.543),(19.663,9.743),(19.163,9.743),(19.313,8.543)])

c__tether_straight_length________ = lib.new_cell('_tether_straight_length_927c7c54')
R(c__tether_straight_length________, L1_0, [(19.163,-9.863,19.663,-9.743)])
P(c__tether_straight_length________, L1_0, [(19.313,-8.543),(19.163,-9.743),(19.663,-9.743),(19.513,-8.543)])

section_tether_a307a1c7 = lib.new_cell('section_tether_a307a1c7')
section_tether_a307a1c7.add(gdstk.Reference(skeleton_568c8b68, (0,0)))
section_tether_a307a1c7.add(gdstk.Reference(c__tether_straight_length_, (0,0)))
section_tether_a307a1c7.add(gdstk.Reference(c__tether_straight_length__, (0,0)))
section_tether_a307a1c7.add(gdstk.Reference(c__tether_straight_length___, (0,0)))
section_tether_a307a1c7.add(gdstk.Reference(c__tether_straight_length____, (0,0)))
section_tether_a307a1c7.add(gdstk.Reference(c__tether_straight_length_____, (0,0)))
section_tether_a307a1c7.add(gdstk.Reference(c__tether_straight_length______, (0,0)))
section_tether_a307a1c7.add(gdstk.Reference(c__tether_straight_length_______, (0,0)))
section_tether_a307a1c7.add(gdstk.Reference(c__tether_straight_length________, (0,0)))

boolean_e14971bb = lib.new_cell('boolean_e14971bb')
P(boolean_e14971bb, L1_0, [(27.25,-12.863),(27.25,12.863),(-10,12.863),(-10,9.863),(24.25,9.863),(24.25,-9.863),(-10,-9.863),(-10,-12.863)])

grating_mask_tether_45a6 = lib.new_cell('grating_mask_tether_45a66ffc')
grating_mask_tether_45a6.add(gdstk.Reference(boolean_e5ada5bc, (0,0)))
grating_mask_tether_45a6.add(gdstk.Reference(section_tether_a307a1c7, (0,0)))
grating_mask_tether_45a6.add(gdstk.Reference(boolean_e14971bb, (0,0)))

lib.write_gds('grating_mask_tether_45a66ffc.gds')
